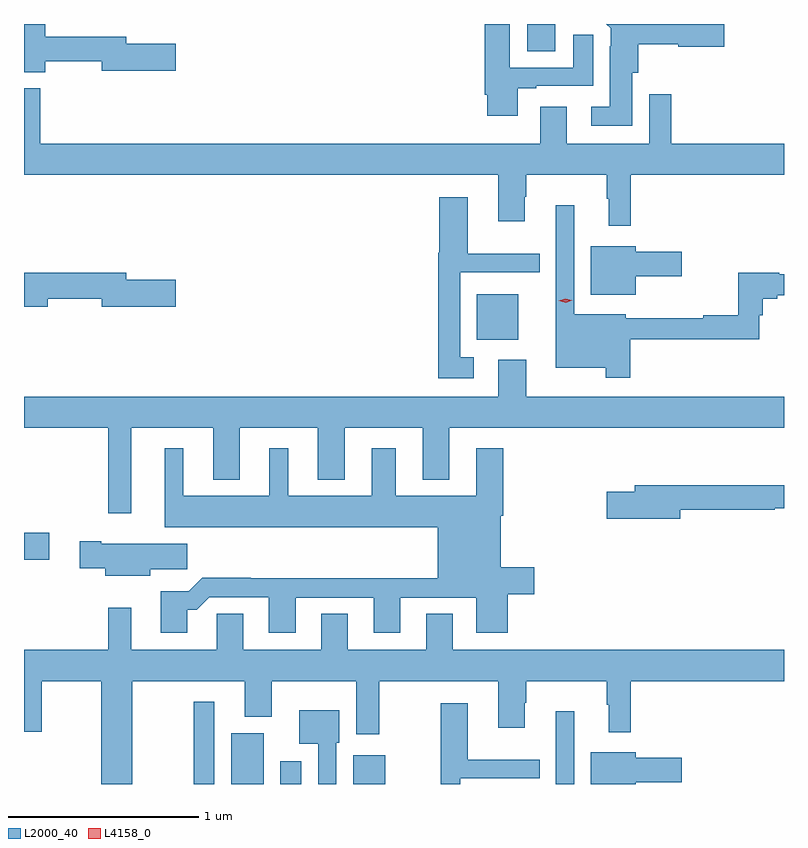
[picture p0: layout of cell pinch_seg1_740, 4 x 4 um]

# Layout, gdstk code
import gdstk
lib = gdstk.Library(unit=1e-6, precision=1e-09)
def R(c, l, rs):  # rectangles x0, y0, x1, y1
    for r in rs: c.add(gdstk.rectangle(r[:2], r[2:], *l))
def P(c, l, *ps):  # polygons
    for p in ps: c.add(gdstk.Polygon(p, *l))
L2000_40 = (2000, 40)
L4158_0 = (4158, 0)

pinch_seg1_740 = lib.new_cell('pinch_seg1_740')
R(pinch_seg1_740, L2000_40, [(857.136,517.89,857.244,518.323), (857.333,517.89,857.503,518.158), (857.591,517.89,857.701,518.011), (857.975,517.89,858.142,518.041), (859.041,517.89,859.137,518.272), (856.242,519.07,856.375,519.212), (858.626,520.229,858.844,520.468), (858.89,521.746,859.039,521.89)])
P(pinch_seg1_740, L2000_40, [(856.354,521.694),(856.652,521.694),(856.652,521.644),(857.041,521.644),(857.041,521.786),(856.78,521.786),(856.78,521.822),(856.354,521.822),(856.354,521.89),(856.242,521.89),(856.242,521.636),(856.354,521.636)],
  [(858.841,521.553),(858.937,521.553),(858.937,521.565),(859.237,521.565),(859.237,521.833),(859.133,521.833),(859.133,521.661),(858.799,521.661),(858.799,521.89),(858.668,521.89),(858.668,521.518),(858.68,521.518),(858.68,521.406),(858.841,521.406)],
  [(859.444,521.634),(859.475,521.634),(859.475,521.783),(859.686,521.783),(859.686,521.77),(859.927,521.77),(859.927,521.89),(859.307,521.89),(859.329,521.868),(859.329,521.774),(859.325,521.774),(859.325,521.455),(859.227,521.455),(859.227,521.354),(859.444,521.354)],
  [(859.436,521.096),(860.242,521.096),(860.242,521.26),(859.649,521.26),(859.649,521.52),(859.533,521.52),(859.533,521.26),(859.099,521.26),(859.099,521.455),(858.959,521.455),(858.959,521.26),(856.328,521.26),(856.328,521.551),(856.242,521.551),(856.242,521.096),(858.737,521.096),(858.737,520.851),(858.877,520.851),(858.877,520.982),(858.885,520.982),(858.885,521.096),(859.308,521.096),(859.308,520.97),(859.319,520.97),(859.319,520.827),(859.436,520.827)],
  [(858.61,520.135),(858.537,520.135),(858.537,520.584),(858.956,520.584),(858.956,520.681),(858.577,520.681),(858.577,520.978),(858.428,520.978),(858.428,520.687),(858.421,520.687),(858.421,520.026),(858.61,520.026)],
  [(859.433,520.23),(860.111,520.23),(860.111,520.356),(860.129,520.356),(860.129,520.444),(860.206,520.444),(860.206,520.463),(860.242,520.463),(860.242,520.573),(860.216,520.573),(860.216,520.58),(860.001,520.58),(860.001,520.358),(859.816,520.358),(859.816,520.341),(859.41,520.341),(859.41,520.363),(859.137,520.363),(859.137,520.936),(859.041,520.936),(859.041,520.459),(859.04,520.459),(859.04,520.082),(859.305,520.082),(859.305,520.029),(859.433,520.029)],
  [(859.462,520.562),(859.705,520.562),(859.705,520.692),(859.462,520.692),(859.462,520.72),(859.226,520.72),(859.226,520.466),(859.462,520.466)],
  [(856.366,520.444),(856.652,520.444),(856.652,520.402),(857.041,520.402),(857.041,520.544),(856.78,520.544),(856.78,520.58),(856.242,520.58),(856.242,520.402),(856.366,520.402)],
  [(856.242,519.764),(856.686,519.764),(856.686,519.315),(856.807,519.315),(856.807,519.764),(857.237,519.764),(857.237,519.491),(857.377,519.491),(857.377,519.764),(857.789,519.764),(857.789,519.491),(857.929,519.491),(857.929,519.764),(858.341,519.764),(858.341,519.491),(858.481,519.491),(858.481,519.764),(860.242,519.764),(860.242,519.928),(858.886,519.928),(858.886,520.123),(858.737,520.123),(858.737,519.928),(856.242,519.928)],
  [(857.101,518.807),(857.15,518.807),(857.217,518.874),(857.531,518.874),(857.531,518.685),(857.671,518.685),(857.671,518.871),(858.083,518.871),(858.083,518.685),(858.223,518.685),(858.223,518.871),(858.623,518.871),(858.623,518.685),(858.788,518.685),(858.788,518.89),(858.928,518.89),(858.928,519.032),(858.751,519.032),(858.751,519.302),(858.764,519.302),(858.764,519.658),(858.623,519.658),(858.623,519.406),(858.199,519.406),(858.199,519.658),(858.071,519.658),(858.071,519.406),(857.632,519.406),(857.632,519.658),(857.534,519.658),(857.534,519.406),(857.08,519.406),(857.08,519.658),(856.982,519.658),(856.982,519.242),(858.419,519.242),(858.419,518.972),(857.435,518.972),(857.435,518.975),(857.18,518.975),(857.11,518.905),(856.961,518.905),(856.961,518.685),(857.101,518.685)],
  [(859.696,519.334),(860.192,519.334),(860.192,519.342),(860.242,519.342),(860.242,519.463),(859.457,519.463),(859.457,519.429),(859.308,519.429),(859.308,519.287),(859.696,519.287)],
  [(856.906,519.019),(857.101,519.019),(857.101,519.154),(856.648,519.154),(856.648,519.167),(856.536,519.167),(856.536,519.025),(856.67,519.025),(856.67,518.987),(856.906,518.987)],
  [(856.813,518.432),(857.405,518.432),(857.405,518.243),(857.545,518.243),(857.545,518.432),(857.99,518.432),(857.99,518.151),(858.111,518.151),(858.111,518.432),(858.737,518.432),(858.737,518.187),(858.877,518.187),(858.877,518.318),(858.885,518.318),(858.885,518.432),(859.308,518.432),(859.308,518.306),(859.319,518.306),(859.319,518.163),(859.436,518.163),(859.436,518.432),(860.242,518.432),(860.242,518.596),(858.499,518.596),(858.499,518.786),(858.359,518.786),(858.359,518.596),(857.947,518.596),(857.947,518.786),(857.807,518.786),(857.807,518.596),(857.395,518.596),(857.395,518.786),(857.256,518.786),(857.256,518.596),(856.807,518.596),(856.807,518.818),(856.686,518.818),(856.686,518.596),(856.242,518.596),(856.242,518.166),(856.335,518.166),(856.335,518.432),(856.649,518.432),(856.649,517.89),(856.813,517.89)],
  [(858.537,517.92),(858.956,517.92),(858.956,518.017),(858.577,518.017),(858.577,518.314),(858.436,518.314),(858.436,517.89),(858.537,517.89)],
  [(857.886,518.106),(857.902,518.106),(857.902,518.278),(857.69,518.278),(857.69,518.102),(857.79,518.102),(857.79,517.89),(857.886,517.89)],
  [(859.462,517.898),(859.705,517.898),(859.705,518.028),(859.462,518.028),(859.462,518.056),(859.226,518.056),(859.226,517.89),(859.462,517.89)])
P(pinch_seg1_740, L4158_0, [(859.092,520.424),(859.056,520.433),(859.055,520.433),(859.056,520.433),(859.091,520.444),(859.127,520.436),(859.127,520.436),(859.127,520.435)])

lib.write_gds('pinch_seg1_740.gds')
